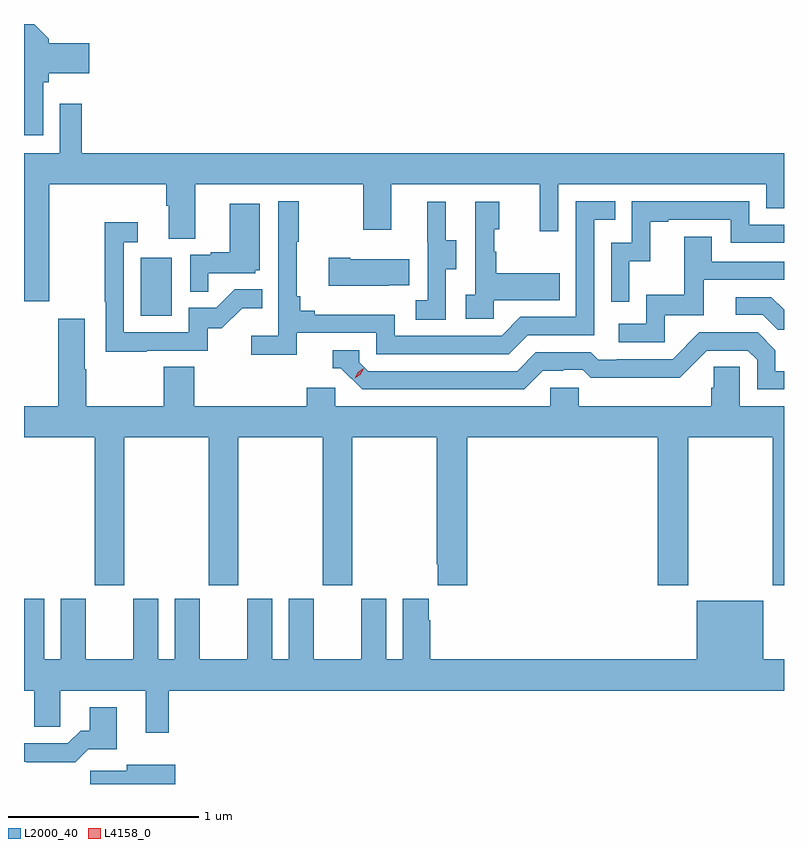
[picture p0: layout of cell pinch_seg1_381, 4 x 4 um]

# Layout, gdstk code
import gdstk
lib = gdstk.Library(unit=1e-6, precision=1e-09)
def R(c, l, rs):  # rectangles x0, y0, x1, y1
    for r in rs: c.add(gdstk.rectangle(r[:2], r[2:], *l))
def P(c, l, *ps):  # polygons
    for p in ps: c.add(gdstk.Polygon(p, *l))
L2000_40 = (2000, 40)
L4158_0 = (4158, 0)

pinch_seg1_381 = lib.new_cell('pinch_seg1_381')
R(pinch_seg1_381, L2000_40, [(993.824,533.724,993.988,534.031)])
P(pinch_seg1_381, L2000_40, [(993.31,534.954),(993.341,534.954),(993.341,535.001),(993.553,535.001),(993.553,535.159),(993.341,535.159),(993.341,535.182),(993.263,535.26),(993.21,535.26),(993.21,534.674),(993.31,534.674)],
  [(993.343,534.416),(993.959,534.416),(993.959,534.304),(993.971,534.304),(993.971,534.13),(994.111,534.13),(994.111,534.416),(994.996,534.416),(994.996,534.177),(995.143,534.177),(995.143,534.416),(995.924,534.416),(995.924,534.168),(996.021,534.168),(996.021,534.416),(997.116,534.416),(997.116,534.289),(997.21,534.289),(997.21,534.58),(993.515,534.58),(993.515,534.841),(993.399,534.841),(993.399,534.58),(993.21,534.58),(993.21,533.802),(993.343,533.802)],
  [(994.646,533.634),(995.064,533.634),(995.064,533.523),(995.761,533.523),(995.86,533.622),(996.21,533.622),(996.21,534.231),(996.323,534.231),(996.323,534.327),(996.114,534.327),(996.114,533.718),(995.823,533.718),(995.724,533.619),(995.16,533.619),(995.16,533.731),(994.741,533.731),(994.741,533.75),(994.664,533.75),(994.664,533.827),(994.645,533.827),(994.645,534.115),(994.657,534.115),(994.657,534.328),(994.548,534.328),(994.548,533.62),(994.407,533.62),(994.407,533.518),(994.646,533.518)],
  [(996.396,534.011),(996.506,534.011),(996.506,534.219),(996.601,534.219),(996.601,534.231),(996.93,534.231),(996.93,534.108),(997.21,534.108),(997.21,534.204),(997.026,534.204),(997.026,534.327),(996.408,534.327),(996.408,534.108),(996.3,534.108),(996.3,533.799),(996.396,533.799)],
  [(995.682,533.807),(996.029,533.807),(996.029,533.947),(995.695,533.947),(995.695,534.062),(995.685,534.062),(995.685,534.18),(995.71,534.18),(995.71,534.325),(995.586,534.325),(995.586,533.834),(995.535,533.834),(995.535,533.709),(995.682,533.709)],
  [(995.43,533.968),(995.485,533.968),(995.485,534.123),(995.431,534.123),(995.431,534.325),(995.333,534.325),(995.333,534.111),(995.334,534.111),(995.334,533.807),(995.271,533.807),(995.271,533.704),(995.43,533.704)],
  [(994.181,533.949),(994.428,533.949),(994.428,533.964),(994.45,533.964),(994.45,534.313),(994.292,534.313),(994.292,534.058),(994.193,534.058),(994.193,534.045),(994.086,534.045),(994.086,533.851),(994.181,533.851)],
  [(993.857,533.541),(994.176,533.541),(994.176,533.658),(994.252,533.658),(994.359,533.765),(994.463,533.765),(994.463,533.864),(994.319,533.864),(994.221,533.766),(994.077,533.766),(994.077,533.637),(993.735,533.637),(993.735,534.111),(993.808,534.111),(993.808,534.217),(993.634,534.217),(993.634,533.797),(993.639,533.797),(993.639,533.536),(993.857,533.536)],
  [(996.582,533.727),(996.787,533.727),(996.787,533.913),(997.21,533.913),(997.21,534.009),(996.829,534.009),(996.829,534.139),(996.685,534.139),(996.685,533.836),(996.486,533.836),(996.486,533.682),(996.339,533.682),(996.339,533.586),(996.582,533.586)],
  [(995.129,533.885),(995.237,533.885),(995.237,534.022),(994.927,534.022),(994.927,534.03),(994.815,534.03),(994.815,533.882),(995.129,533.882)],
  [(997.21,533.757),(997.144,533.823),(996.957,533.823),(996.957,533.73),(997.098,533.73),(997.178,533.65),(997.21,533.65)],
  [(995.941,533.436),(996.048,533.436),(996.048,533.439),(996.151,533.439),(996.193,533.397),(996.426,533.397),(996.426,533.399),(996.662,533.399),(996.804,533.541),(997.02,533.541),(997.068,533.493),(997.068,533.337),(997.21,533.337),(997.21,533.433),(997.165,533.433),(997.165,533.543),(997.071,533.637),(996.765,533.637),(996.624,533.496),(996.331,533.496),(996.331,533.493),(996.232,533.493),(996.193,533.532),(995.904,533.532),(995.805,533.433),(995.022,533.433),(994.974,533.481),(994.974,533.544),(994.835,533.544),(994.835,533.448),(994.878,533.448),(994.989,533.337),(995.842,533.337)],
  [(996.841,533.456),(996.841,533.346),(996.827,533.346),(996.827,533.248),(996.129,533.248),(996.129,533.346),(995.979,533.346),(995.979,533.248),(994.848,533.248),(994.848,533.346),(994.697,533.346),(994.697,533.248),(994.106,533.248),(994.106,533.456),(993.946,533.456),(993.946,533.248),(993.537,533.248),(993.537,533.444),(993.529,533.444),(993.529,533.71),(993.389,533.71),(993.389,533.248),(993.21,533.248),(993.21,533.084),(993.583,533.084),(993.583,532.305),(993.738,532.305),(993.738,533.084),(994.183,533.084),(994.183,532.305),(994.338,532.305),(994.338,533.084),(994.783,533.084),(994.783,532.305),(994.938,532.305),(994.938,533.084),(995.383,533.084),(995.383,532.417),(995.387,532.417),(995.387,532.305),(995.543,532.305),(995.543,533.084),(996.545,533.084),(996.545,532.305),(996.705,532.305),(996.705,533.084),(997.15,533.084),(997.15,532.305),(997.21,532.305),(997.21,533.248),(996.978,533.248),(996.978,533.456)],
  [(993.973,531.752),(997.21,531.752),(997.21,531.916),(997.102,531.916),(997.102,532.225),(996.752,532.225),(996.752,531.916),(995.348,531.916),(995.348,532.121),(995.341,532.121),(995.341,532.234),(995.204,532.234),(995.204,531.916),(995.116,531.916),(995.116,532.234),(994.985,532.234),(994.985,531.916),(994.735,531.916),(994.735,532.234),(994.604,532.234),(994.604,531.916),(994.516,531.916),(994.516,532.234),(994.385,532.234),(994.385,531.916),(994.135,531.916),(994.135,532.234),(994.004,532.234),(994.004,531.916),(993.916,531.916),(993.916,532.234),(993.785,532.234),(993.785,531.916),(993.535,531.916),(993.535,532.234),(993.404,532.234),(993.404,531.916),(993.316,531.916),(993.316,532.234),(993.21,532.234),(993.21,531.752),(993.263,531.752),(993.263,531.562),(993.402,531.562),(993.402,531.752),(993.851,531.752),(993.851,531.531),(993.973,531.531)],
  [(993.548,531.443),(993.697,531.443),(993.697,531.664),(993.557,531.664),(993.557,531.541),(993.508,531.541),(993.441,531.474),(993.21,531.474),(993.21,531.376),(993.223,531.376),(993.223,531.374),(993.479,531.374)],
  [(994.006,531.361),(993.752,531.361),(993.752,531.329),(993.558,531.329),(993.558,531.26),(994.006,531.26)])
P(pinch_seg1_381, L4158_0, [(994.95,533.396),(994.95,533.396),(994.966,533.428),(994.998,533.447),(994.998,533.447),(994.998,533.446),(994.981,533.415),(994.95,533.396)])

lib.write_gds('pinch_seg1_381.gds')
